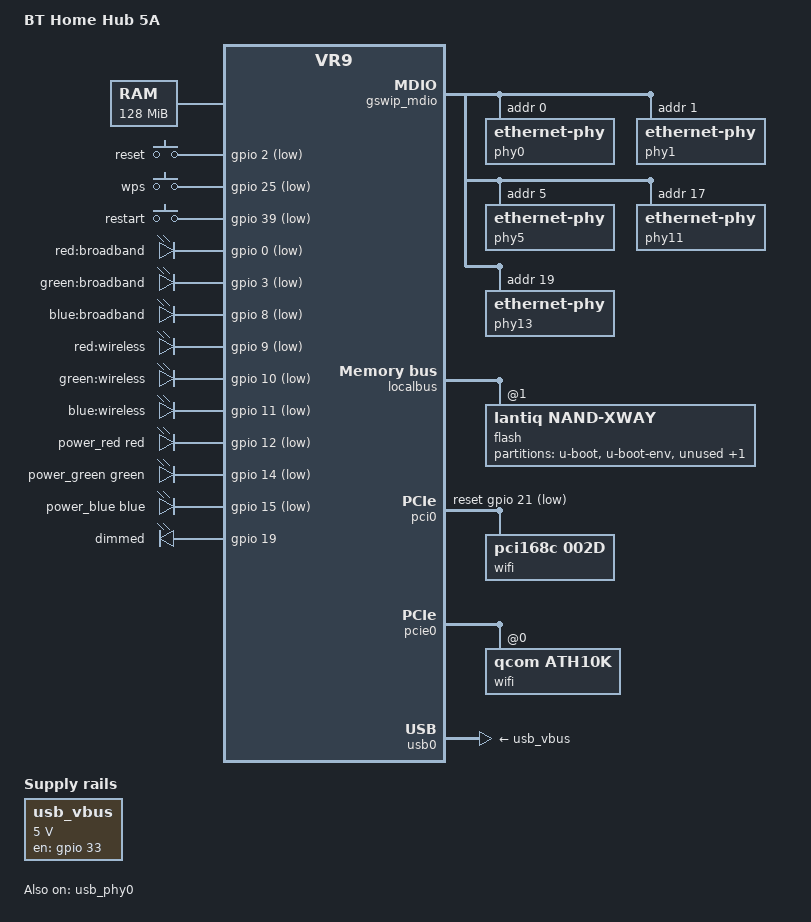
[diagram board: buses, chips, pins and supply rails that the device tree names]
#include "vr9.dtsi"

#include <dt-bindings/input/input.h>
#include <dt-bindings/leds/common.h>
#include <dt-bindings/mips/lantiq_rcu_gphy.h>

/ {
	compatible = "bt,homehub-v5a", "lantiq,xway", "lantiq,vr9";
	model = "BT Home Hub 5A";

	chosen {
		bootargs = "console=ttyLTQ0,115200";
	};

	aliases {
		led-boot = &power_green;
		led-failsafe = &power_red;
		led-running = &power_blue;
		led-upgrade = &power_blue;

		led-dsl = &broadband_blue;
		led-wifi = &wireless_blue;
	};

	memory@0 {
		device_type = "memory";
		reg = <0x0 0x8000000>;
	};

	keys {
		compatible = "gpio-keys-polled";
		poll-interval = <100>;

		reset {
			label = "reset";
			gpios = <&gpio 2 GPIO_ACTIVE_LOW>;
			linux,code = <KEY_RESTART>;
		};

		wps {
			label = "wps";
			gpios = <&gpio 25 GPIO_ACTIVE_LOW>;
			linux,code = <KEY_WPS_BUTTON>;
		};

		restart {
			label = "restart";
			gpios = <&gpio 39 GPIO_ACTIVE_LOW>;
			linux,code = <KEY_POWER2>;
		};
	};

	leds {
		compatible = "gpio-leds";

		/* broadband-* is a single RGB led */
		broadband-red {
			label = "red:broadband";
			gpios = <&gpio 0 GPIO_ACTIVE_LOW>;
		};
		broadband-green {
			label = "green:broadband";
			gpios = <&gpio 3 GPIO_ACTIVE_LOW>;
		};
		broadband_blue: broadband-blue {
			label = "blue:broadband";
			gpios = <&gpio 8 GPIO_ACTIVE_LOW>;
		};

		/* wireless-* is a single RGB led */
		wireless-red {
			label = "red:wireless";
			gpios = <&gpio 9 GPIO_ACTIVE_LOW>;
		};
		wireless-green {
			label = "green:wireless";
			gpios = <&gpio 10 GPIO_ACTIVE_LOW>;
		};
		wireless_blue: wireless-blue {
			label = "blue:wireless";
			gpios = <&gpio 11 GPIO_ACTIVE_LOW>;
		};

		/* power-* is a single RGB led */
		power_red: power-red {
			function = LED_FUNCTION_POWER;
			color = <LED_COLOR_ID_RED>;
			gpios = <&gpio 12 GPIO_ACTIVE_LOW>;
		};
		power_green: power-green {
			function = LED_FUNCTION_POWER;
			color = <LED_COLOR_ID_GREEN>;
			gpios = <&gpio 14 GPIO_ACTIVE_LOW>;
			default-state = "keep";
		};
		power_blue: power-blue {
			function = LED_FUNCTION_POWER;
			color = <LED_COLOR_ID_BLUE>;
			gpios = <&gpio 15 GPIO_ACTIVE_LOW>;
		};

		dimmed {
			label = "dimmed";
			gpios = <&gpio 19 GPIO_ACTIVE_HIGH>;
		};
	};

	usb_vbus: regulator-usb-vbus {
		compatible = "regulator-fixed";

		regulator-name = "USB_VBUS";

		regulator-min-microvolt = <5000000>;
		regulator-max-microvolt = <5000000>;

		gpios = <&gpio 33 GPIO_ACTIVE_HIGH>;
		enable-active-high;
	};
};

&gphy0 {
	lantiq,gphy-mode = <GPHY_MODE_GE>;
};

&gphy1 {
	lantiq,gphy-mode = <GPHY_MODE_GE>;
};

&gpio {
	pinctrl-names = "default";
	pinctrl-0 = <&state_default>;

	state_default: pinmux {
		pci_rst {
			lantiq,pins = "io21";
			lantiq,output = <1>;
			lantiq,open-drain;
		};
		pcie_rst {
			lantiq,pins = "io38";
			lantiq,pull = <0>;
			lantiq,output = <1>;
			lantiq,open-drain;
		};
		usb_vbus {
			lantiq,pins = "io33";
			lantiq,pull = <0>;
			lantiq,open-drain = <0>;
			lantiq,output = <1>;
		};
	};
};

&eth0 {
	nvmem-cells = <&macaddr_caldata_110c 0>;
	nvmem-cell-names = "mac-address";
};

&ppe {
	nvmem-cells = <&macaddr_caldata_110c 4>;
	nvmem-cell-names = "mac-address";
};

&gswip {
	pinctrl-0 = <&mdio_pins>;
	pinctrl-names = "default";
};

&gswip_mdio {
	phy0: ethernet-phy@0 {
		reg = <0x0>;
	};
	phy1: ethernet-phy@1 {
		reg = <0x1>;
	};
	phy5: ethernet-phy@5 {
		reg = <0x5>;
	};
	phy11: ethernet-phy@11 {
		reg = <0x11>;
	};
	phy13: ethernet-phy@13 {
		reg = <0x13>;
	};
};

&gswip_ports {
	port@0 {
		reg = <0>;
		label = "lan3";
		phy-mode = "rgmii-id";
		tx-internal-delay-ps = <1500>;
		rx-internal-delay-ps = <1500>;
		phy-handle = <&phy0>;
	};
	port@1 {
		reg = <1>;
		label = "lan4";
		phy-mode = "rgmii-id";
		tx-internal-delay-ps = <1500>;
		rx-internal-delay-ps = <1500>;
		phy-handle = <&phy1>;
	};
	port@2 {
		reg = <2>;
		label = "lan2";
		phy-mode = "internal";
		phy-handle = <&phy11>;
	};
	port@4 {
		reg = <4>;
		label = "lan1";
		phy-mode = "internal";
		phy-handle = <&phy13>;
	};
	port@5 {
		reg = <5>;
		label = "wan";
		phy-mode = "rgmii-id";
		tx-internal-delay-ps = <1500>;
		rx-internal-delay-ps = <1500>;
		phy-handle = <&phy5>;

		nvmem-cells = <&macaddr_caldata_110c 4>;
		nvmem-cell-names = "mac-address";
	};
};

&localbus {
	flash@1 {
		compatible = "lantiq,nand-xway";
		lantiq,cs = <1>;
		bank-width = <2>;
		reg = <0x1 0x0 0x2000000>;

		pinctrl-0 = <&nand_pins>, <&nand_cs1_pins>;
		pinctrl-names = "default";

		nand-on-flash-bbt;
		nand-ecc-strength = <3>;
		nand-ecc-step-size = <256>;
		nand-use-soft-ecc-engine;

		partitions {
			compatible = "fixed-partitions";
			#address-cells = <1>;
			#size-cells = <1>;

			partition@0 {
				label = "u-boot";
				reg = <0x0 0xa0000>;
				read-only;
			};
			partition@a0000 {
				label = "u-boot-env";
				reg = <0xa0000 0x20000>;
				read-only;
			};
			partition@c0000 {
				label = "unused";
				reg = <0xc0000 0x40000>;
			};
			partition@100000 {
				compatible = "linux,ubi";
				label = "ubi";
				reg = <0x100000 0x7e80000>;

				volumes {
					ubi-volume-caldata {
						volname = "caldata";

						nvmem-layout {
							compatible = "fixed-layout";
							#address-cells = <1>;
							#size-cells = <1>;

							cal_caldata_1000: calibration@1000 {
								reg = <0x1000 0x3d8>;
							};

							macaddr_caldata_110c: macaddr@110c {
								compatible = "mac-base";
								reg = <0x110c 0x6>;
								#nvmem-cell-cells = <1>;
							};

							cal_caldata_5000: calibration@5000 {
								reg = <0x5000 0x844>;
							};
						};
					};
				};
			};
			/*
			 * last 512 KiB are for the bad block table, not writable
			 */
		};
	};
};

&pci0 {
	status = "okay";
	reset-gpios = <&gpio 21 GPIO_ACTIVE_LOW>;

	wifi@e,0 {
		compatible = "pci168c,002d";
		reg = <0x7000 0 0 0 0>;
		nvmem-cells = <&cal_caldata_1000>, <&macaddr_caldata_110c 2>;
		nvmem-cell-names = "calibration", "mac-address";
		ieee80211-freq-limit = <2402000 2482000>;
	};
};

&pcie0 {
	pcie@0 {
		reg = <0x0000 0 0 0 0>;
		#interrupt-cells = <1>;
		#size-cells = <2>;
		#address-cells = <3>;
		device_type = "pci";

		wifi@0,0 {
			compatible = "qcom,ath10k";
			reg = <0x0000 0 0 0 0>;
			nvmem-cells = <&cal_caldata_5000>, <&macaddr_caldata_110c 3>;
			nvmem-cell-names = "calibration", "mac-address";
		};
	};
};

&usb_phy0 {
	status = "okay";
};

&usb0 {
	status = "okay";
	vbus-supply = <&usb_vbus>;
};
